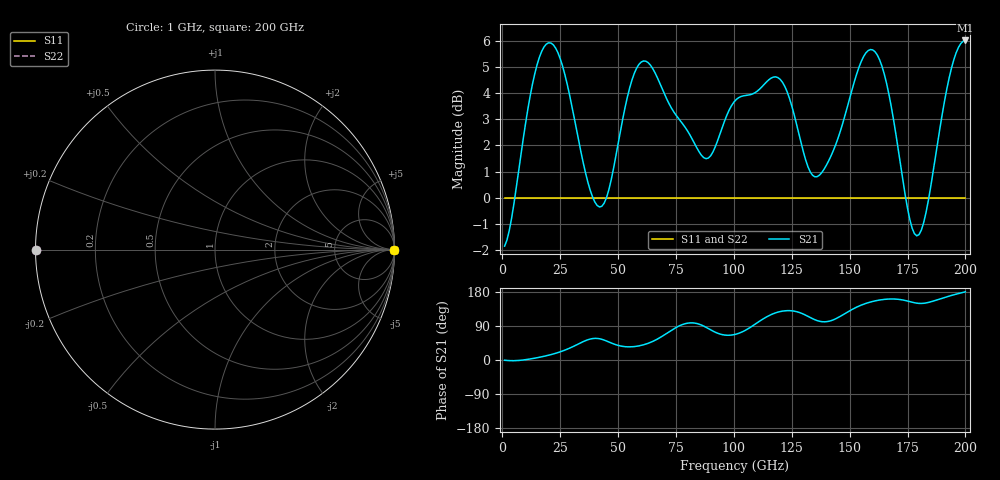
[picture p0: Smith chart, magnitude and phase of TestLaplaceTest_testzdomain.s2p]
! File created by SignalIntegrity v1.3.1: Signal and Power Integrity Tools
! https://github.com/TeledyneLeCroy/SignalIntegrity
# MHz S MA R 50.0
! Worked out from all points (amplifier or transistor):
!   200 points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, 1 GHz to 200 GHz, reference 50 ohm
!   highest |S21| = 6.0 dB at 200 GHz (marker M1)
!   |S21| within 3 dB of that: 96.37 GHz to 126.5 GHz (30.12 GHz wide, 27 % of centre)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
1000  1 0.0  0.8073 -0.7  0 0.0  1 180.0
10000  1 0.0  1.383 0.8  0 0.0  1 180.0
20000  1 0.0  1.979 12.6  0 0.0  1 180.0
25000  1 0.0  1.846 21.5  0 0.0  1 180.0
35000  1 0.0  1.164 48.6  0 0.0  1 180.0
43000  1 0.0  0.9627 54.6  0 0.0  1 180.0
59000  1 0.0  1.8 37.2  0 0.0  1 180.0
68000  1 0.0  1.658 58.8  0 0.0  1 180.0
76000  1 0.0  1.42 88.8  0 0.0  1 180.0
81000  1 0.0  1.319 97.9  0 0.0  1 180.0
96000  1 0.0  1.402 65.9  0 0.0  1 180.0
101000  1 0.0  1.541 68.3  0 0.0  1 180.0
110000  1 0.0  1.598 97.9  0 0.0  1 180.0
120000  1 0.0  1.685 127.8  0 0.0  1 180.0
134000  1 0.0  1.104 109.0  0 0.0  1 180.0
143000  1 0.0  1.231 106.1  0 0.0  1 180.0
159000  1 0.0  1.921 153.0  0 0.0  1 180.0
167000  1 0.0  1.575 160.9  0 0.0  1 180.0
175000  1 0.0  0.9544 155.6  0 0.0  1 180.0
181000  1 0.0  0.8672 149.3  0 0.0  1 180.0
190000  1 0.0  1.445 163.1  0 0.0  1 180.0
200000  1 0.0  2 180.0  0 0.0  1 180.0
